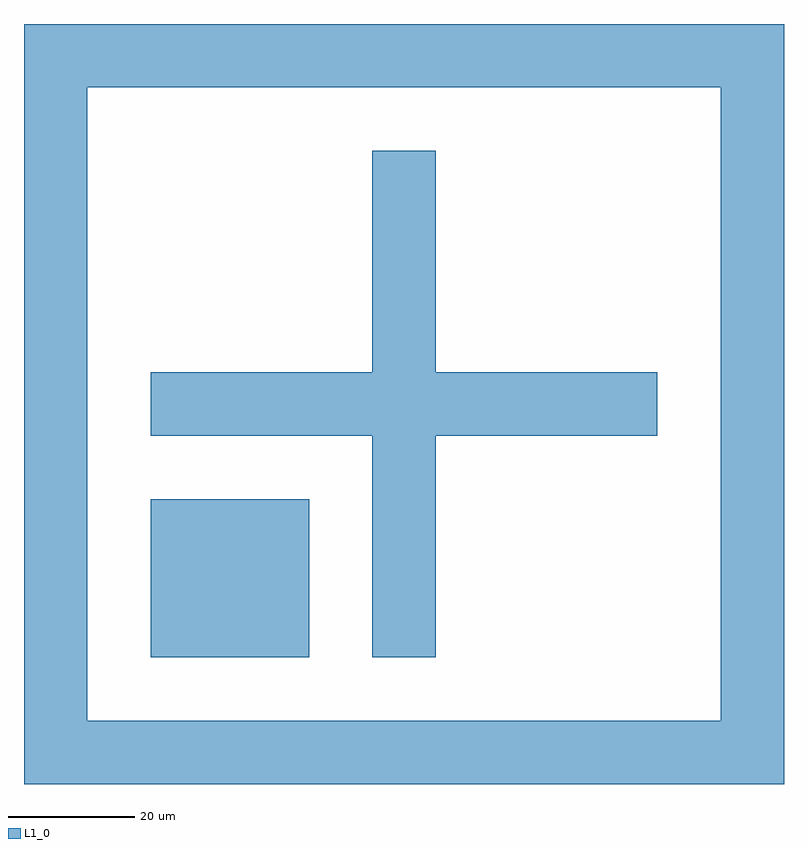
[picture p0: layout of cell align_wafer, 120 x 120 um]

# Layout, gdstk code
from math import pi, radians
import gdstk
lib = gdstk.Library(unit=1e-6, precision=1e-09)
def R(c, l, rs):  # rectangles x0, y0, x1, y1
    for r in rs: c.add(gdstk.rectangle(r[:2], r[2:], *l))
L1_0 = (1, 0)

compass_df80ea3c = lib.new_cell('compass_df80ea3c')
R(compass_df80ea3c, L1_0, [(-5,-40,5,40)])

rectangle_df80ea3c = lib.new_cell('rectangle_df80ea3c')
rectangle_df80ea3c.add(gdstk.Reference(compass_df80ea3c, (5,40)))

cross_d06bdb06 = lib.new_cell('cross_d06bdb06')
cross_d06bdb06.add(gdstk.Reference(rectangle_df80ea3c, (40,-5), rotation=pi/2))
cross_d06bdb06.add(gdstk.Reference(rectangle_df80ea3c, (-5,-40)))

compass_16b13358 = lib.new_cell('compass_16b13358')
R(compass_16b13358, L1_0, [(-60,-5,60,5)])

rectangle_0aab3e9d = lib.new_cell('rectangle_0aab3e9d')
rectangle_0aab3e9d.add(gdstk.Reference(compass_16b13358, (0,0)))

compass_8428b49d = lib.new_cell('compass_8428b49d')
R(compass_8428b49d, L1_0, [(-5,-55,5,55)])

rectangle_c4d38c1c = lib.new_cell('rectangle_c4d38c1c')
rectangle_c4d38c1c.add(gdstk.Reference(compass_8428b49d, (0,0)))

compass_693e573e = lib.new_cell('compass_693e573e')
R(compass_693e573e, L1_0, [(-12.5,-12.5,12.5,12.5)])

rectangle_4d06f07d = lib.new_cell('rectangle_4d06f07d')
rectangle_4d06f07d.add(gdstk.Reference(compass_693e573e, (0,0)))

align_wafer = lib.new_cell('align_wafer')
align_wafer.add(gdstk.Reference(cross_d06bdb06, (0,0)))
align_wafer.add(gdstk.Reference(rectangle_0aab3e9d, (0,55)))
align_wafer.add(gdstk.Reference(rectangle_0aab3e9d, (0,-55)))
align_wafer.add(gdstk.Reference(rectangle_c4d38c1c, (-55,0)))
align_wafer.add(gdstk.Reference(rectangle_c4d38c1c, (55,0)))
align_wafer.add(gdstk.Reference(rectangle_4d06f07d, (-27.5,-27.5)))

lib.write_gds('align_wafer.gds')
